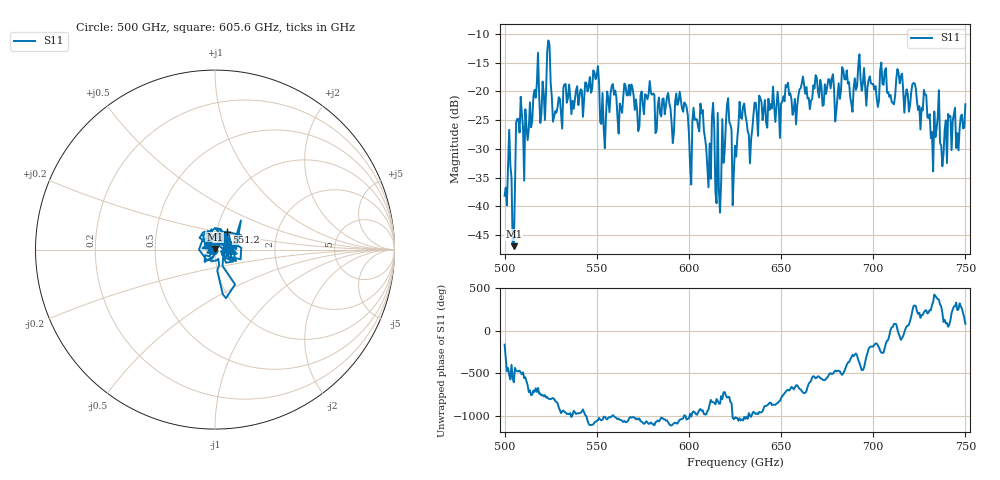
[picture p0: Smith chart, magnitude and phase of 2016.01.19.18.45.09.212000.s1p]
!Created with skrf (http://scikit-rf.org).
# GHz S RI R 50.0
!freq ReS11 ImS11
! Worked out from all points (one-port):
!   401 points, 500 GHz to 750 GHz, reference 50 ohm
!   lowest |S11| = -46.9 dB at 505 GHz (marker M1), VSWR 1.01, Z = 49.8 + j0.407 ohm
!   |S11| at or under -10 dB: start of sweep to end of sweep
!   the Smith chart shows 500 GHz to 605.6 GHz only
!   S11 on the Smith chart (normalised r, x): 500 GHz: 0.98, -0.01; 551.2 GHz: 1.11, +0.23; 605.6 GHz: 0.93, +0.04
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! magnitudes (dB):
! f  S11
! 500 GHz  -38.1
! 502.5 GHz  -26.7
! 505 GHz  -46.9
! 507.5 GHz  -24.8
! 511.9 GHz  -26.1
! 516.9 GHz  -21.1
! 520.6 GHz  -18.3
! 523.8 GHz  -11.1
! 526.9 GHz  -24.3
! 531.2 GHz  -26.5
! 551.2 GHz  -18.5
! 553.1 GHz  -20.3
! 562.5 GHz  -22.1
! 593.8 GHz  -22.4
! 600.6 GHz  -32.7
! 605.6 GHz  -27.0
! 610.6 GHz  -36.7
! 612.5 GHz  -24.4
! 615.6 GHz  -23.7
! 621.9 GHz  -25.3
! 625 GHz  -29.5
! 628.8 GHz  -24.8
! 633.1 GHz  -32.5
! 656.2 GHz  -24.1
! 687.5 GHz  -21.0
! 718.8 GHz  -20.5
! 737.5 GHz  -33.0
! 750 GHz  -22.2
